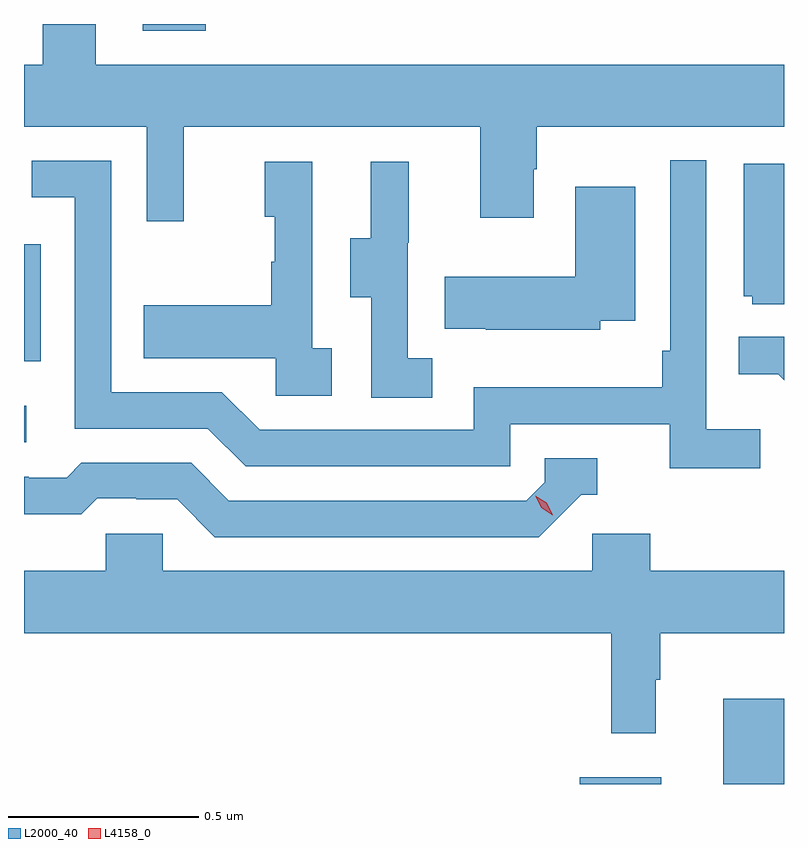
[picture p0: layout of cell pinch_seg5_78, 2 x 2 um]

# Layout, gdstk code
import gdstk
lib = gdstk.Library(unit=1e-6, precision=1e-09)
def R(c, l, rs):  # rectangles x0, y0, x1, y1
    for r in rs: c.add(gdstk.rectangle(r[:2], r[2:], *l))
def P(c, l, *ps):  # polygons
    for p in ps: c.add(gdstk.Polygon(p, *l))
L2000_40 = (2000, 40)
L4158_0 = (4158, 0)

pinch_seg5_78 = lib.new_cell('pinch_seg5_78')
R(pinch_seg5_78, L2000_40, [(1038.038,908.311,1038.253,908.329), (1038.416,908.311,1038.576,908.536), (1036.576,909.21,1036.582,909.306), (1036.576,909.423,1036.62,909.732), (1036.889,910.293,1037.054,910.311)])
P(pinch_seg5_78, L2000_40, [(1036.997,910.04),(1037.777,910.04),(1037.777,909.801),(1037.917,909.801),(1037.917,909.929),(1037.925,909.929),(1037.925,910.04),(1038.576,910.04),(1038.576,910.204),(1036.765,910.204),(1036.765,910.311),(1036.625,910.311),(1036.625,910.204),(1036.576,910.204),(1036.576,910.04),(1036.899,910.04),(1036.899,909.792),(1036.997,909.792)],
  [(1038.514,909.244),(1038.372,909.244),(1038.372,909.952),(1038.276,909.952),(1038.276,909.451),(1038.256,909.451),(1038.256,909.355),(1037.76,909.355),(1037.76,909.243),(1037.196,909.243),(1037.097,909.342),(1036.806,909.342),(1036.806,909.951),(1036.597,909.951),(1036.597,909.855),(1036.71,909.855),(1036.71,909.246),(1037.06,909.246),(1037.159,909.147),(1037.856,909.147),(1037.856,909.258),(1038.275,909.258),(1038.275,909.142),(1038.514,909.142)],
  [(1037.386,909.458),(1037.334,909.458),(1037.334,909.949),(1037.21,909.949),(1037.21,909.804),(1037.236,909.804),(1037.236,909.686),(1037.226,909.686),(1037.226,909.571),(1036.891,909.571),(1036.891,909.431),(1037.238,909.431),(1037.238,909.333),(1037.386,909.333)],
  [(1037.65,909.431),(1037.586,909.431),(1037.586,909.735),(1037.588,909.735),(1037.588,909.949),(1037.489,909.949),(1037.489,909.747),(1037.435,909.747),(1037.435,909.592),(1037.49,909.592),(1037.49,909.328),(1037.65,909.328)],
  [(1038.576,909.943),(1038.47,909.943),(1038.47,909.594),(1038.492,909.594),(1038.492,909.573),(1038.576,909.573)],
  [(1038.093,909.53),(1038.184,909.53),(1038.184,909.883),(1038.026,909.883),(1038.026,909.646),(1037.683,909.646),(1037.683,909.509),(1037.791,909.509),(1037.791,909.506),(1038.093,909.506)],
  [(1038.576,909.488),(1038.457,909.488),(1038.457,909.389),(1038.561,909.389),(1038.576,909.374)],
  [(1038.042,909.072),(1038.085,909.072),(1038.085,909.168),(1037.946,909.168),(1037.946,909.105),(1037.898,909.057),(1037.115,909.057),(1037.016,909.156),(1036.727,909.156),(1036.688,909.117),(1036.589,909.117),(1036.589,909.12),(1036.576,909.12),(1036.576,909.021),(1036.727,909.021),(1036.769,909.063),(1036.872,909.063),(1036.872,909.06),(1036.979,909.06),(1037.078,908.961),(1037.931,908.961)],
  [(1038.238,908.585),(1038.25,908.585),(1038.25,908.708),(1038.576,908.708),(1038.576,908.872),(1038.224,908.872),(1038.224,908.97),(1038.072,908.97),(1038.072,908.872),(1036.941,908.872),(1036.941,908.97),(1036.791,908.97),(1036.791,908.872),(1036.576,908.872),(1036.576,908.708),(1038.121,908.708),(1038.121,908.445),(1038.238,908.445)])
P(pinch_seg5_78, L4158_0, [(1037.968,909.018),(1037.937,909.038),(1037.921,909.07),(1037.921,909.07),(1037.921,909.07),(1037.952,909.051),(1037.968,909.019),(1037.968,909.018)])

lib.write_gds('pinch_seg5_78.gds')
